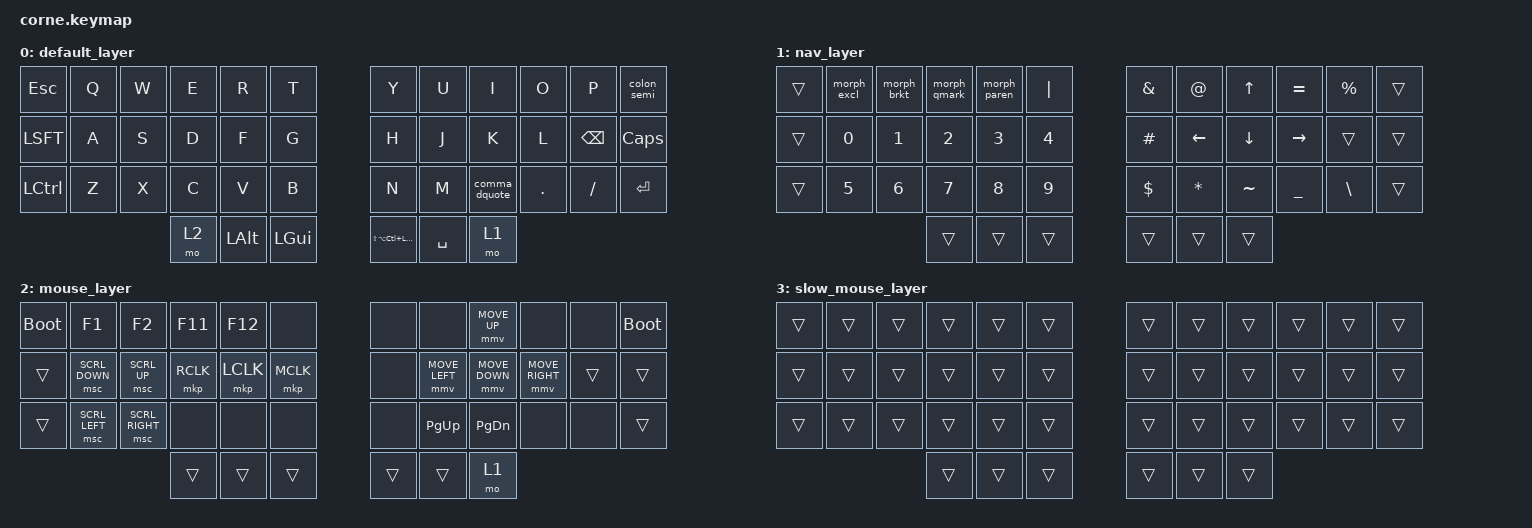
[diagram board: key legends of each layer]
/*
 * CAPAS: 0 base | 1 nav+numeros+simbolos (MO1) | 2 puntero+multimedia (MO2) | 3 mouse lento
 * COMBOS: E+R=- | Y+U=maximizar | U+I=+ | A+S=TAB | D+F=2
 *         J+K=RET | L+BSPC=deshacer (con shift: rehacer) | V+B=copiar | M+,=pegar
 *         W+E+R=zoom out (cmd-) | U+I+O=zoom in (cmd+)
 *         ESC+SHFT+CTRL=bloquear pantalla | ,+.+/+RET=apagar (HYPER+F13 -> Karabiner)
 *         :+CAPS+RET=BT_CLR | T+G+V=reiniciar la mitad izquierda (sys_reset)
 * Los combos de edicion llevan layers = <0 1>; los de sistema valen en todas las capas.
 * MO1 pares (base / shift): Q=¡ /!  W=[ /]  E=¿ /?  R=( /)
 * MO2: I/J/K/L mueven | D=click der | F=click izq | G=click medio
 *      A=scroll abajo S=scroll arriba | Z=scroll izq X=scroll der
 *      Q/W=brillo -/+ | E/R=volumen -/+ | M=PgUp ,=PgDn
 *      mouse lento: MO1+MO2 juntos (capa 3)
 *      ESC (izq) y : (der) = bootloader, modo flasheo de esa mitad
 *      transparentes en MO2: LSFT, LCTRL, RET, LALT, LGUI, HYPER, SPACE, BSPC, CAPS
 *      el resto de MO2 es &none (requiere CONFIG_ZMK_POINTING=y)
 */
#include <behaviors.dtsi>
#include <dt-bindings/zmk/keys.h>
#include <dt-bindings/zmk/bt.h>
#define ZMK_POINTING_DEFAULT_MOVE_VAL 650
#define ZMK_POINTING_DEFAULT_SCRL_VAL 20
#include <dt-bindings/zmk/pointing.h>
#include <input/processors.dtsi>
/ {
    behaviors {
        undo_redo: undo_redo {
            compatible = "zmk,behavior-mod-morph";
            #binding-cells = <0>;
            bindings = <&kp LG(Z)>, <&kp LG(LS(Z))>;
            mods = <(MOD_LSFT|MOD_RSFT)>;
        };
        colon_semi: colon_semi {
            compatible = "zmk,behavior-mod-morph";
            #binding-cells = <0>;
            bindings = <&kp LS(SEMI)>, <&kp SEMI>;
            mods = <(MOD_LSFT|MOD_RSFT)>;
        };
        comma_dquote: comma_dquote {
            compatible = "zmk,behavior-mod-morph";
            #binding-cells = <0>;
            bindings = <&kp COMMA>, <&kp LS(SQT)>;
            mods = <(MOD_LSFT|MOD_RSFT)>;
        };
        morph_excl: morph_excl {
            compatible = "zmk,behavior-mod-morph";
            #binding-cells = <0>;
            bindings = <&kp LA(N1)>, <&kp EXCL>;
            mods = <(MOD_LSFT|MOD_RSFT)>;
        };
        morph_brkt: morph_brkt {
            compatible = "zmk,behavior-mod-morph";
            #binding-cells = <0>;
            bindings = <&kp LBKT>, <&kp RBKT>;
            mods = <(MOD_LSFT|MOD_RSFT)>;
        };
        morph_qmark: morph_qmark {
            compatible = "zmk,behavior-mod-morph";
            #binding-cells = <0>;
            bindings = <&kp LA(N2)>, <&kp QMARK>;
            mods = <(MOD_LSFT|MOD_RSFT)>;
        };
        morph_paren: morph_paren {
            compatible = "zmk,behavior-mod-morph";
            #binding-cells = <0>;
            bindings = <&kp LPAR>, <&kp RPAR>;
            mods = <(MOD_LSFT|MOD_RSFT)>;
        };
    };
    combos {
        compatible = "zmk,combos";
        combo_zoom_out   { timeout-ms = <50>; require-prior-idle-ms = <300>; key-positions = <2 3 4>;       layers = <0 1>; bindings = <&kp LG(MINUS)>; };
        combo_zoom_in    { timeout-ms = <50>; require-prior-idle-ms = <300>; key-positions = <7 8 9>;       layers = <0 1>; bindings = <&kp LG(EQUAL)>; };
        combo_minus_er   { timeout-ms = <35>; require-prior-idle-ms = <300>; key-positions = <3 4>;         layers = <0 1>; bindings = <&kp MINUS>; };
        combo_fullscreen { timeout-ms = <35>; require-prior-idle-ms = <300>; key-positions = <6 7>;         layers = <0 1>; bindings = <&kp LC(LG(F))>; };
        combo_plus_ui    { timeout-ms = <35>; require-prior-idle-ms = <300>; key-positions = <7 8>;         layers = <0 1>; bindings = <&kp PLUS>; };
        combo_tab        { timeout-ms = <35>; require-prior-idle-ms = <300>; key-positions = <13 14>;       layers = <0 1>; bindings = <&kp TAB>; };
        combo_two        { timeout-ms = <35>; require-prior-idle-ms = <300>; key-positions = <15 16>;       layers = <0 1>; bindings = <&kp N2>; };
        combo_enter_jk   { timeout-ms = <35>; require-prior-idle-ms = <300>; key-positions = <19 20>;       layers = <0 1>; bindings = <&kp RET>; };
        combo_undo_redo  { timeout-ms = <35>; require-prior-idle-ms = <300>; key-positions = <21 22>;       layers = <0 1>; bindings = <&undo_redo>; };
        combo_copy       { timeout-ms = <35>; require-prior-idle-ms = <300>; key-positions = <28 29>;       layers = <0 1>; bindings = <&kp LG(C)>; };
        combo_paste      { timeout-ms = <35>; require-prior-idle-ms = <300>; key-positions = <31 32>;       layers = <0 1>; bindings = <&kp LG(V)>; };
        combo_lock       { timeout-ms = <50>; require-prior-idle-ms = <300>; key-positions = <0 12 24>;     bindings = <&kp LC(LG(Q))>; };
        combo_shutdown   { timeout-ms = <50>; require-prior-idle-ms = <300>; key-positions = <32 33 34 35>; bindings = <&kp LS(LA(LC(LG(F13))))>; };
        combo_reset_izq  { timeout-ms = <50>; require-prior-idle-ms = <300>; key-positions = <5 17 28>;     bindings = <&sys_reset>; };
        combo_bt_clr     { timeout-ms = <50>; require-prior-idle-ms = <300>; key-positions = <11 23 35>;    bindings = <&bt BT_CLR_ALL>; };
    };
    conditional_layers {
        compatible = "zmk,conditional-layers";
        slow_mouse {
            if-layers = <1 2>;
            then-layer = <3>;
        };
    };
    keymap {
        compatible = "zmk,keymap";

        default_layer {
            bindings = <
&kp ESC    &kp Q  &kp W  &kp E  &kp R  &kp T       &kp Y  &kp U  &kp I          &kp O    &kp P     &colon_semi
&kp LSFT   &kp A  &kp S  &kp D  &kp F  &kp G       &kp H  &kp J  &kp K          &kp L    &kp BSPC  &kp CAPS
&kp LCTRL  &kp Z  &kp X  &kp C  &kp V  &kp B       &kp N  &kp M  &comma_dquote  &kp DOT  &kp FSLH  &kp RET
                         &mo 2        &kp LALT  &kp LGUI    &kp LS(LA(LC(LGUI)))  &kp SPACE  &mo 1
            >;
        };

        nav_layer {
            bindings = <
&trans  &morph_excl  &morph_brkt  &morph_qmark  &morph_paren  &kp PIPE    &kp AMPS  &kp AT     &kp UP     &kp EQUAL  &kp PRCNT  &trans
&trans  &kp N0       &kp N1       &kp N2        &kp N3        &kp N4      &kp HASH  &kp LEFT   &kp DOWN   &kp RIGHT  &trans     &trans
&trans  &kp N5       &kp N6       &kp N7        &kp N8        &kp N9      &kp DLLR  &kp STAR   &kp TILDE  &kp UNDER  &kp BSLH   &trans
                                  &trans  &trans  &trans                  &trans  &trans  &trans
            >;
        };

        mouse_layer {
            bindings = <
&bootloader  &kp F1     &kp F2           &kp F11    &kp F12    &none        &none  &none           &mmv MOVE_UP    &none            &none  &bootloader
&trans  &msc SCRL_DOWN  &msc SCRL_UP     &mkp RCLK  &mkp LCLK  &mkp MCLK    &none  &mmv MOVE_LEFT  &mmv MOVE_DOWN  &mmv MOVE_RIGHT  &trans &trans
&trans  &msc SCRL_LEFT  &msc SCRL_RIGHT  &none      &none      &none        &none  &kp PG_UP       &kp PG_DN       &none            &none  &trans
                                         &trans  &trans  &trans             &trans  &trans  &mo 1
            >;
        };

        slow_mouse_layer {
            bindings = <
&trans  &trans  &trans  &trans  &trans  &trans    &trans  &trans  &trans  &trans  &trans  &trans
&trans  &trans  &trans  &trans  &trans  &trans    &trans  &trans  &trans  &trans  &trans  &trans
&trans  &trans  &trans  &trans  &trans  &trans    &trans  &trans  &trans  &trans  &trans  &trans
                        &trans  &trans  &trans    &trans  &trans  &trans
            >;
        };
    };
};

&mmv {
    time-to-max-speed-ms = <0>;
    acceleration-exponent = <0>;
};

&msc {
    time-to-max-speed-ms = <0>;
    acceleration-exponent = <0>;
};

/* capa 3 activa -> el movimiento del puntero se divide por 6 */
&mmv_input_listener {
    slow_mode {
        layers = <3>;
        input-processors = <&zip_xy_scaler 1 6>;
    };
};
